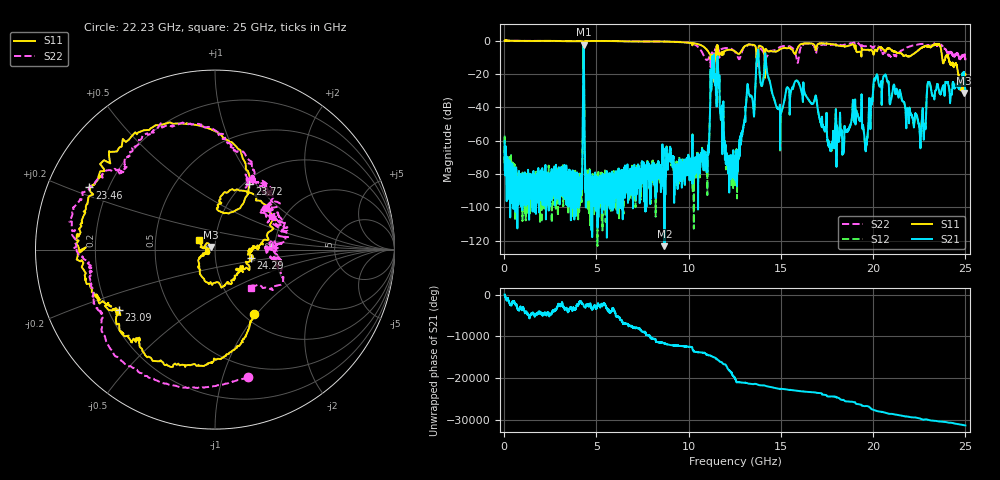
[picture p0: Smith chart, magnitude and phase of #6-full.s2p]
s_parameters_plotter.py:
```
# narise grafe na podlagi S parametrov iz datoteke .S2P HP - VNA utility
# pip install scikit-rf

from skrf import Network
import matplotlib.pyplot as plt
from matplotlib import style

ring_slot = Network('#6-full.s2p')
ring_slot. frequency.unit = 'ghz'
ring_slot.plot_s_db(m=1,n=0, label = 'S21')
#ring_slot.plot_s_db(m=0,n=0, label = 'S11')
#ring_slot.plot_s_db(m=0,n=0)

plt.title('Wideband response')
plt.axis([0000000000,25000000000,-90,10])
plt.legend(loc='upper right')
plt.grid(visible=True, axis='both', which='both')
plt.xlabel("Frequency [GHz]")
plt.ylabel("Amplitude [dB]")
plt.show()
plt.show()
```
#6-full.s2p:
#  HZ  S  DB  R  50.00
! Rohde & Schwarz ZVA67 4Ports - Version 3.30 - 1305.7002k04 SN: 101038
! Date: 2022-07-22 05:30:39
! Measurements: S11 S21 S12 S22
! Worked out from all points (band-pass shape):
!   6246 points, 20 MHz to 25 GHz, reference 50 ohm
!   highest |S21| = -2.38 dB at 4.3 GHz (marker M1); lowest = -123.4 dB at 8.688 GHz (marker M2)
!   |S21| within 3 dB of the highest: 4.289 GHz to 4.313 GHz (24.39 MHz wide, 0.567 % of centre); 13.75551 GHz to 13.7627 GHz (7.196 MHz wide, 0.0523 % of centre)
!   lowest |S11| = -31.4 dB at 24.92 GHz (marker M3), VSWR 1.06, Z = 47.8 + j1.46 ohm
!   |S11| at or under -10 dB: 11.27 GHz to 11.35 GHz (81.47 MHz wide, 0.72 % of centre); 23.74 GHz to 23.91 GHz (172.9 MHz wide, 0.726 % of centre); 24.07 GHz to end of sweep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
!   |S22| runs from -22.1 to 0.1 dB; largest |S21 - S12| = 0.05
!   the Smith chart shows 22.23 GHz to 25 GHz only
!   S11 on the Smith chart (normalised r, x): 22.23 GHz: 1.11, -0.97; 23.09 GHz: 0.24, -0.27; 23.46 GHz: 0.13, +0.23; 23.72 GHz: 1.06, +0.93; 24.29 GHz: 1.49, -0.15; 25 GHz: 0.83, +0.09
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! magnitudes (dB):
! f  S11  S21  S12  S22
! 20 MHz  0.0  -60.3  -73.7  0.0
! 4.3 GHz  -16.4  -2.4  -2.4  -13.5
! 8.688 GHz  -0.5  -123.4  -81.4  -0.5
! 12.51 GHz  -6.4  -81.6  -76.4  -6.7
! 22.23 GHz  -7.6  -49.6  -49.9  -2.7
! 23.09 GHz  -4.0  -26.1  -26.1  -3.0
! 23.46 GHz  -2.1  -26.3  -26.2  -3.3
! 23.72 GHz  -7.7  -29.6  -29.6  -2.7
! 24.29 GHz  -13.8  -28.9  -28.8  -8.0
! 24.92 GHz  -31.4  -19.4  -19.4  -8.3
! 25 GHz  -19.7  -29.7  -29.7  -10.7
! 25 GHz  -20.1  -30.2  -30.2  -11.8
